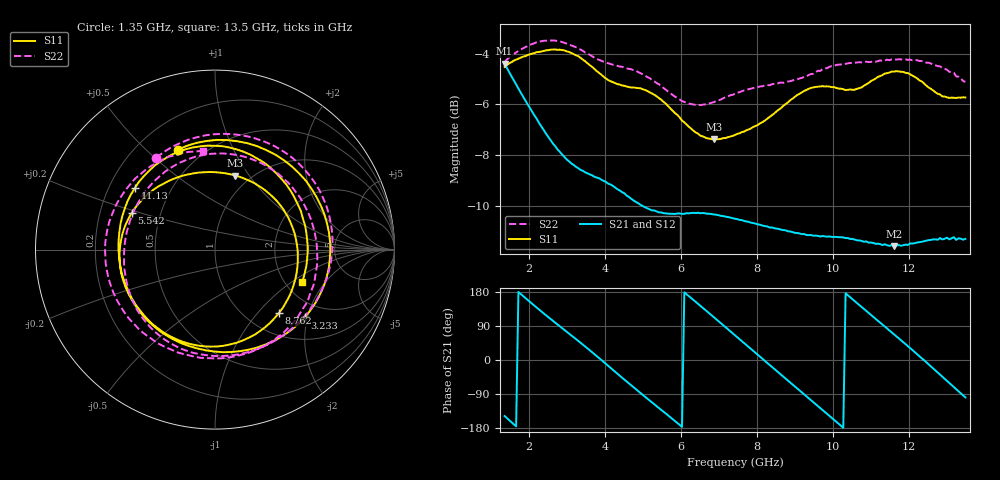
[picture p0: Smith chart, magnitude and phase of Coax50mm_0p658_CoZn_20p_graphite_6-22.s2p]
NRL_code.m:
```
% Based on code from Rudolph Scott from NRL

%%% where the data are located %%%
% data = load('C:\Users\rudolph\Documents\MATLAB\Material Parameters\131115-A-85mil-Xband.s2p');
% data = load('Data\Day1\GDSKuband.txt');
%data = load('coax50mmHDPE10mm.s2p');
% data = xlsread('C:\Users\rudolph\Documents\Research\MaterialParameters\GDS-1.csv');

%%% what type of averaging you would like to use %%%
%%% assumes you sample is symmetric at least %%%
avetech = 'algebraic';
% avetech = 's11';
% avetech = 's22';

%%% select the ieee frequency band %%%
freqband = 'fband';

%%% thickness of the sample %%%
t = 10e-3;
%t = 0.024*0.0254;
% t = 0.051*0.0254;
% t = 0.073*0.0254;

%%% data format %%%
format = 'ReIm';
% format = 'MagPhs';

%%% set some boundaries to start %%%
minEr = 1;
maxEr = 4;
minEi = -1;
maxEi = 5;
minMr = -0.8;
maxMr = 1.2;
minMi = -0.1;
maxMi = 1;

%%% How much would you expect each parameter to deviate from the adjacent frequency point %%%
deltaEr = 1;%0.1;
deltaEi = 1;%0.01;
deltaMr = 1;%0.1;
deltaMi = 1;%0.01;

startpts = 11;  %%% first subdivision
subpts = 5;     %%% subsequent subdivisions
iter = 3;       %%% number of iterations

%%% standard waveguide sizes (don't change) %%%
sbandA = 2.84*0.0254;
fbandA = 1.59*0.0254;
hbandA = 1.122*0.0254;
xbandA = 0.9*0.0254;
kubandA = 0.622*0.0254;
kbandA = 0.42*0.0254;
kabandA = 0.28*0.0254;

%%% length of the sample holder %%%
sbandL = 6*0.0254;
fbandL = 0.5*0.0254;
hbandL = 0.35*0.0254;
xbandL = 0.3*0.0254;
kubandL = 0.25*0.0254;
kbandL = 0.175*0.0254;
kabandL = 0.125*0.0254;

switch freqband
    case 'sband'
        a = sbandA;
        deembed = sbandL-t;
    case 'fband'
        a = fbandA;
        deembed = fbandL-t;
    case 'hband'
        a = hbandA;
        deembed = hbandL-t;
    case 'xband'
        a = xbandA;
        deembed = xbandL-t;
    case 'kuband'
        a = kubandA;
        deembed = kubandL-t;
    case 'kband'
        a = kbandA;
        deembed = kbandL-t;
    case 'kaband'
        a = kabandA;
        deembed = kabandL-t;
end
%{
switch format
    case 'ReIm'
        f = data(:,1);
        s11 = data(:,2)+1j.*data(:,3);
        s12 = data(:,4)+1j.*data(:,5);
        s21 = data(:,6)+1j.*data(:,7);
        s22 = data(:,8)+1j.*data(:,9);
    case 'MagPhs'
        f = data(:,1);
        s11 = 10.^(data(:,2)./20).*exp(1j.*data(:,3)./180.*pi);
        s12 = 10.^(data(:,4)./20).*exp(1j.*data(:,5)./180.*pi);
        s21 = 10.^(data(:,6)./20).*exp(1j.*data(:,7)./180.*pi);
        s22 = 10.^(data(:,8)./20).*exp(1j.*data(:,9)./180.*pi);
end
%}
materialFile = 'Coax50mm_0p658_CoZn_20p_graphite_6-22.s2p';
[s11,s21,s12,s22,f] = s2pToComplexSParam(materialFile,filelength);
a = 1e9;
[num,~] = size(f);
mu0 = 4e-7*pi;
eps0 = 8.85418782e-12;
air = 1.00058986;
ereal = 0.*f./f;
mreal = 0.*f./f;
eimag = 0.*f./f;
mimag = 0.*f./f;

eiguess = 0.1;
miguess = 0.1;

c = 1/sqrt(air*eps0*mu0);
lambda0 = c./f;
k0 = 2*pi./lambda0;

%%% when s11 is commented and s22 is uncommented this deembeds assuming the sample is flush with port 1 %%%
%%% when s22 is commented and s11 is uncommented this deembeds assuming the sample is flush with port 2 %%%
% s11 = s11.*exp(2j.*sqrt(1-(lambda0./2./a).^2).*k0.*deembed);
s12 = s12.*exp(1j.*sqrt(1-(lambda0./2./a).^2).*k0.*deembed);
s21 = s21.*exp(1j.*sqrt(1-(lambda0./2./a).^2).*k0.*deembed);
s22 = s22.*exp(2j.*sqrt(1-(lambda0./2./a).^2).*k0.*deembed);

%%% this deembeds assuming the sample is in the middle of the holder %%%
% s11 = s11.*exp(1j.*sqrt(1-(lambda0./2./a).^2).*k0.*deembed);
% s12 = s12.*exp(1j.*sqrt(1-(lambda0./2./a).^2).*k0.*deembed);
% s21 = s21.*exp(1j.*sqrt(1-(lambda0./2./a).^2).*k0.*deembed);
% s22 = s22.*exp(1j.*sqrt(1-(lambda0./2./a).^2).*k0.*deembed);

if 1
    figure (11)
    %     plot(f,20.*log10(abs(s11)),f,20.*log10(abs(s22)))
    plot(f,20.*log10(abs(s11)),f,20.*log10(abs(s22)))
    figure (12)
    plot(f,180/pi.*angle(s11),f,180/pi.*angle(s22))
    figure (13)
    plot(f,20.*log10(abs(s21)),f,20.*log10(abs(s12)))
    figure (14)
    plot(f,180/pi.*angle(s21),f,180/pi.*angle(s12))
    figure (15)
    plot(f,20.*log10(abs(s11).^2+abs(s21).^2))
end

switch avetech
    case 's11'
        color = 'r';
    case 's22'
        s11 = s22;
        s21 = s12;
        color = 'm';
    case 'algebraic'
        s11 = (s11+s22)./2;
        s21 = (s21+s12)./2;
        color = 'b';
    case 'geometric'
        s11 = sqrt(s11.*s22);
        if abs(s11+s22)<abs(s11-s22)
            s11 = -s11;
        end
        s21 = sqrt(s21.*s12);
        if abs(s21+s12)<abs(s21-s12)
            s21 = -s21;
        end
        color = 'g';
end

if 1
    figure (11)
    hold on
    plot(f,20.*log10(abs(s11)),'m')
    hold off
    figure (12)
    hold on
    plot(f,180/pi.*angle(s11),'m')
    hold off
    figure (13)
    hold on
    plot(f,20.*log10(abs(s21)),'m')
    hold off
    figure (14)
    hold on
    plot(f,180/pi.*angle(s21),'m')
    hold off
end

%%

pts = startpts;

figure(10)
RECT = [0.1, 0.2, 0.8, 0.2];  %rectangular box [left, bottom,width, height]
axes('position', RECT);
title('Percent Complete')
xlim([0,100])

for ii = 1:num
    count = 0;
    while count<iter
        clear w x y z
        count = count+1;
        
        w = ones(pts,pts,pts,pts);
        x = ones(pts,pts,pts,pts);
        y = ones(pts,pts,pts,pts);
        z = ones(pts,pts,pts,pts);
        
        for jj = 1:pts
            w(jj,:,:,:) = w(jj,:,:,:).*(minEr+(jj-1)/(pts-1)*(maxEr-minEr));
            x(:,jj,:,:) = x(:,jj,:,:).*(minEi+(jj-1)/(pts-1)*(maxEi-minEi));
            y(:,:,jj,:) = y(:,:,jj,:).*(minMr+(jj-1)/(pts-1)*(maxMr-minMr));
            z(:,:,:,jj) = z(:,:,:,jj).*(minMi+(jj-1)/(pts-1)*(maxMi-minMi));
        end
        
        epsr = w-1j.*x;
        mur = y-1j.*z;
        
        cosx = 2.*sqrt(mur./epsr.*(1-1./(mur.*epsr).*(lambda0(ii)./2./a).^2).*(1-(lambda0(ii)./2./a).^2)).*cos(sqrt(mur.*epsr-(lambda0(ii)./2./a).^2).*k0(ii).*t);
        sinxu = (1+mur./epsr-(mur./epsr+1./(mur.*epsr)).*(lambda0(ii)./2./a).^2).*sin(sqrt(mur.*epsr-(lambda0(ii)./2./a).^2).*k0(ii).*t);
        sinxa = (mur./epsr-1+(1./(mur.*epsr)-mur./epsr).*(lambda0(ii)./2./a).^2).*sin(sqrt(mur.*epsr-(lambda0(ii)./2./a).^2).*k0(ii).*t);
        R = 1j.*sinxa./(cosx+1j.*sinxu);
        T = 2.*sqrt(mur./epsr.*(1-1./(mur.*epsr).*(lambda0(ii)./2./a).^2).*(1-(lambda0(ii)./2./a).^2))./(cosx+1j.*sinxu);
        deltaR = s11(ii)-R;
        deltaT = s21(ii)-T;
        delta = sqrt(abs(deltaR).^2+abs(deltaT).^2);
        [tdelt,tmat] = min(abs(delta));
        [ddelt,dmat] = min(tdelt);
        [mdelt,mmat] = min(ddelt);
        [~,lndex] = min(mdelt);
        kndex = mmat(1,1,1,lndex);
        jndex = dmat(1,1,kndex,lndex);
        index = tmat(1,jndex,kndex,lndex);
        if count<iter
            if (index ~= 1) && (index ~= pts)
                minEr = real(epsr(index-1,jndex,kndex,lndex));
                maxEr = real(epsr(index+1,jndex,kndex,lndex));
            elseif index == 1
                maxEr = real(epsr(index+1,jndex,kndex,lndex));
                minEr = 2*real(epsr(index,jndex,kndex,lndex))-maxEr;
            elseif index == pts
                minEr = real(epsr(index-1,jndex,kndex,lndex));
                maxEr = 2*real(epsr(index,jndex,kndex,lndex))-minEr;
            end
            if (jndex ~= 1) && (jndex ~= pts)
                minEi = -imag(epsr(index,jndex-1,kndex,lndex));
                maxEi = -imag(epsr(index,jndex+1,kndex,lndex));
            elseif jndex == 1
                maxEi = -imag(epsr(index,jndex+1,kndex,lndex));
                minEi = -2*imag(epsr(index,jndex,kndex,lndex))-maxEi;
            elseif jndex == pts
                minEi = -imag(epsr(index,jndex-1,kndex,lndex));
                maxEi = -2*imag(epsr(index,jndex,kndex,lndex))-minEi;
            end
            if (kndex ~= 1) && (kndex ~= pts)
                minMr = real(mur(index,jndex,kndex-1,lndex));
                maxMr = real(mur(index,jndex,kndex+1,lndex));
            elseif kndex == 1
                maxMr = real(mur(index,jndex,kndex+1,lndex));
                minMr = 2*real(mur(index,jndex,kndex,lndex))-maxMr;
            elseif kndex == pts
                minMr = real(mur(index,jndex,kndex-1,lndex));
                maxMr = 2*real(mur(index,jndex,kndex,lndex))-minMr;
            end
            if (lndex ~= 1) && (lndex ~= pts)
                minMi = -imag(mur(index,jndex,kndex,lndex-1));
                maxMi = -imag(mur(index,jndex,kndex,lndex+1));
            elseif lndex == 1
                maxMi = -imag(mur(index,jndex,kndex,lndex+1));
                minMi = -2*imag(mur(index,jndex,kndex,lndex))-maxMi;
            elseif lndex == pts
                minMi = -imag(mur(index,jndex,kndex,lndex-1));
                maxMi = -2*imag(mur(index,jndex,kndex,lndex))-minMi;
            end
            pts = subpts;
            minEr = minEr+(maxEr-minEr)./(pts+1);
            maxEr = maxEr-(maxEr-minEr)./(pts+1);
            minEi = minEi+(maxEi-minEi)./(pts+1);
            maxEi = maxEi-(maxEi-minEi)./(pts+1);
            minMr = minMr+(maxMr-minMr)./(pts+1);
            maxMr = maxMr-(maxMr-minMr)./(pts+1);
            minMi = minMi+(maxMi-minMi)./(pts+1);
            maxMi = maxMi-(maxMi-minMi)./(pts+1);
        else
            ereal(ii) = real(epsr(index,jndex,kndex,lndex));
            mreal(ii) = real(mur(index,jndex,kndex,lndex));
            eimag(ii) = imag(epsr(index,jndex,kndex,lndex));
            mimag(ii) = imag(mur(index,jndex,kndex,lndex));
            pts = startpts;
            if ereal(ii)>deltaEr
                minEr = ereal(ii)-deltaEr;
                maxEr = ereal(ii)+deltaEr;
            else
                minEr = 0;
                maxEr = ereal(ii)+deltaEr;
            end
            if -eimag(ii)>deltaEi
                minEi = -eimag(ii)-deltaEi;
                maxEi = -eimag(ii)+deltaEi;
            else
                minEi = 0;
                maxEi = -eimag(ii)+deltaEi;
            end
            if mreal(ii)>deltaMr
                minMr = mreal(ii)-deltaMr;
                maxMr = mreal(ii)+deltaMr;
            else
                minMr = 0;
                maxMr = mreal(ii)+deltaMr;
            end
            if -mimag(ii)>deltaMi
                minMi = -mimag(ii)-deltaMi;
                maxMi = -mimag(ii)+deltaMi;
            else
                minMi = 0;
                maxMi = -mimag(ii)+deltaMi;
            end
        end
        figure(10)
        barh(100*ii/num)
        xlim([0,100])
    end
end

%%

er = ereal+1j.*eimag;
mr = mreal+1j.*mimag;

xmin = min(f*1e-9);
xmax = max(f*1e-9);

%figure(1)
subplot(221)
hold on
plot(f*1e-9,real(er),color,'linewidth',2)
% plot(f*1e-9,real(er),'color',[0.5 0 0.5],'linewidth',2)
% axis([12 18 13.4 13.7])
xlim([xmin xmax])
xlabel('Frequency (GHz)')
ylabel('Re\{\epsilon_r\}')
xlab = get(gca, 'xlabel');
ylab = get(gca, 'ylabel');
titl = get(gca, 'title');
grid on
set(titl, 'FontName', 'Calibri','fontsize', 20)
set(gca, 'FontName', 'Calibri','fontsize', 20)
set(xlab, 'FontName', 'Calibri','fontsize', 20)
set(ylab, 'FontName', 'Calibri','fontsize', 20)

%figure(2)
subplot(222)
hold on
plot(f*1e-9,imag(er),color,'linewidth',2)
% plot(f*1e-9,imag(er),'color',[0.5 0 0.5],'linewidth',2)
% axis([12 18 -0.06 0.01])
xlim([xmin xmax])
xlabel('Frequency (GHz)')
ylabel('Im\{\epsilon_r\}')
xlab = get(gca, 'xlabel');
ylab = get(gca, 'ylabel');
titl = get(gca, 'title');
grid on
set(titl, 'FontName', 'Calibri','fontsize', 20)
set(gca, 'FontName', 'Calibri','fontsize', 20)
set(xlab, 'FontName', 'Calibri','fontsize', 20)
set(ylab, 'FontName', 'Calibri','fontsize', 20)

%figure(3)
subplot(223)
hold on
plot(f*1e-9,real(mr),color,'linewidth',2)
% plot(f*1e-9,real(mr),'color',[0 0.5 0.5],'linewidth',2)
% axis([12 18 0.9 1])
xlim([xmin xmax])
xlabel('Frequency (GHz)')
ylabel('Re\{\mu_r\}')
xlab = get(gca, 'xlabel');
ylab = get(gca, 'ylabel');
titl = get(gca, 'title');
grid on
set(titl, 'FontName', 'Calibri','fontsize', 20)
set(gca, 'FontName', 'Calibri','fontsize', 20)
set(xlab, 'FontName', 'Calibri','fontsize', 20)
set(ylab, 'FontName', 'Calibri','fontsize', 20)

%figure(4)
subplot(224)
hold on
plot(f*1e-9,imag(mr),color,'linewidth',2)
% plot(f*1e-9,imag(mr),'color',[0 0.5 0.5],'linewidth',2)
% axis([12 18 -0.035 0.002])
xlim([xmin xmax])
xlabel('Frequency (GHz)')
ylabel('Im\{\mu_r\}')
xlab = get(gca, 'xlabel');
ylab = get(gca, 'ylabel');
titl = get(gca, 'title');
grid on
set(titl, 'FontName', 'Calibri','fontsize', 20)
set(gca, 'FontName', 'Calibri','fontsize', 20)
set(xlab, 'FontName', 'Calibri','fontsize', 20)
set(ylab, 'FontName', 'Calibri','fontsize', 20)

%%
% 
% imprt = load('Data/5708_mu.txt');
% ff = imprt(:,1);
% mu_import = imprt(:,2)-1j.*imprt(:,3);
% figure(3)
% plot(ff,real(mu_import),'k','linewidth',2)
% xlim([4 18])
% figure(4)
% plot(ff,imag(mu_import),'k','linewidth',2)
% xlim([4 18])
```
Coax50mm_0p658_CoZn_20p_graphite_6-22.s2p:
!Agilent Technologies,N5230C,MY48100320,A.08.04.10
!Agilent N5230C: A.08.04.10
!Date: Tuesday, August 23, 2016 04:09:44
!Correction: S11(Full 2 Port(1,2))
!S21(Full 2 Port(1,2))
!S12(Full 2 Port(1,2))
!S22(Full 2 Port(1,2))
!S2P File: Measurements: S11, S21, S12, S22:
# Hz S  dB  R 50
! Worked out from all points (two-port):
!   201 points, 1.35 GHz to 13.5 GHz, reference 50 ohm
!   highest |S21| = -4.40 dB at 1.35 GHz (marker M1); lowest = -11.6 dB at 11.62 GHz (marker M2)
!   |S21| within 3 dB of the highest: start of sweep to 2.56 GHz
!   lowest |S11| = -7.4 dB at 6.878 GHz (marker M3), VSWR 2.50, Z = 42.8 + j43.2 ohm
!   |S11| at or under -10 dB: nowhere
!   |S22| runs from -6.0 to -3.5 dB; largest |S21 - S12| = 0.0015
!   S11 on the Smith chart (normalised r, x): 1.35 GHz: 0.37, +0.63; 3.233 GHz: 1.54, -1.92; 5.542 GHz: 0.34, +0.19; 8.762 GHz: 1.38, -1.31; 11.13 GHz: 0.31, +0.31; 13.5 GHz: 2.44, -1.22
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1.35027e9  -4.53 110.4  -4.40 -147.8  -4.41 -147.8  -4.33 122.5
3.233478e9  -4.07 -37.1  -8.46 55.1  -8.46 55.1  -3.75 -6.4
4.326954e9  -5.20 -120.0  -9.34 -36.4  -9.34 -36.5  -4.48 -79.8
5.541927e9  -5.90 156.3  -10.28 -136.6  -10.28 -136.7  -5.35 -148.4
6.878397e9  -7.37 74.5  -10.33 111.9  -10.36 111.8  -5.90 136.2
7.425135e9  -7.20 41.1  -10.50 65.3  -10.53 65.2  -5.58 105.7
8.761605e9  -5.99 -44.9  -10.96 -49.4  -10.99 -49.4  -5.11 31.9
9.855081e9  -5.29 -117.6  -11.21 -142.5  -11.23 -142.4  -4.58 -35.0
1.11308e10  -4.98 142.2  -11.49 108.8  -11.51 108.9  -4.32 -113.4
1.161679e10  -4.71 109.8  -11.58 67.8  -11.60 68.0  -4.23 -145.2
1.35e10  -5.73 -20.7  -11.29 -98.8  -11.30 -98.7  -5.11 97.1
